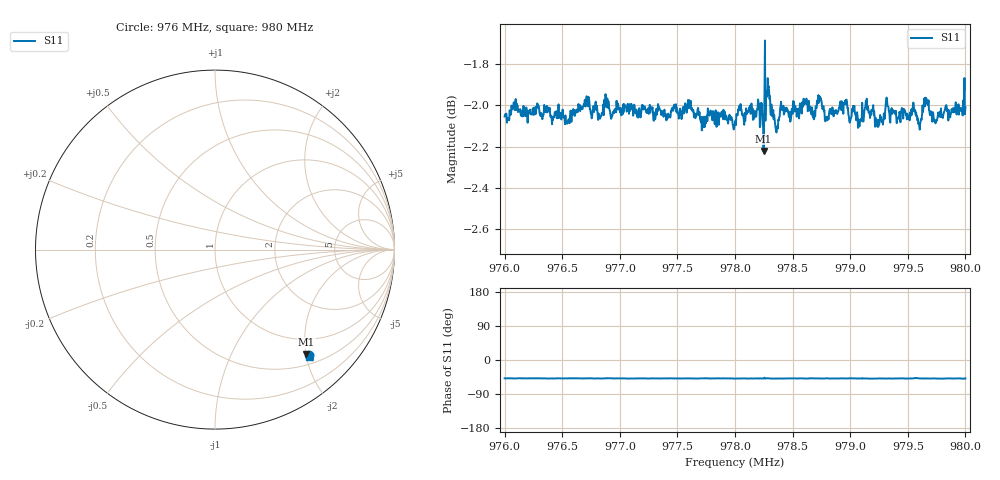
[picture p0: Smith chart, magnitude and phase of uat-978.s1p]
! Calibrated averaged scanner-service zoom
# Hz S RI R 50
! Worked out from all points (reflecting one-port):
!   1001 points, 976 MHz to 980 MHz, reference 50 ohm
!   lowest |S11| = -2.2 dB at 978.248 MHz (marker M1), VSWR 7.86, Z = 34.4 - j100 ohm
!   phase of S11 starts at -48 deg and turns -0 deg over the sweep
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9.76e8  0.5246 -0.5899
9.76076e8  0.5242 -0.5968
9.765e8  0.5223 -0.5927
9.77e8  0.5263 -0.5928
9.775e8  0.5233 -0.593
9.77676e8  0.518 -0.6
9.77732e8  0.5272 -0.5874
9.78e8  0.5165 -0.5929
9.78248e8  0.5089 -0.5836
9.78276e8  0.533 -0.5976
9.78356e8  0.5135 -0.5918
9.785e8  0.5226 -0.5934
9.78616e8  0.5224 -0.6002
9.78668e8  0.5262 -0.5939
9.78744e8  0.5268 -0.599
9.78796e8  0.5252 -0.5893
9.78964e8  0.5251 -0.5993
9.79e8  0.5238 -0.5878
9.7918e8  0.5162 -0.5981
9.79252e8  0.5206 -0.5887
9.79316e8  0.5229 -0.6026
9.79424e8  0.5239 -0.5892
9.795e8  0.5183 -0.5957
9.79568e8  0.5313 -0.585
9.79612e8  0.5202 -0.5911
9.79664e8  0.5243 -0.6001
9.79728e8  0.5188 -0.5924
9.8e8  0.5233 -0.5966
